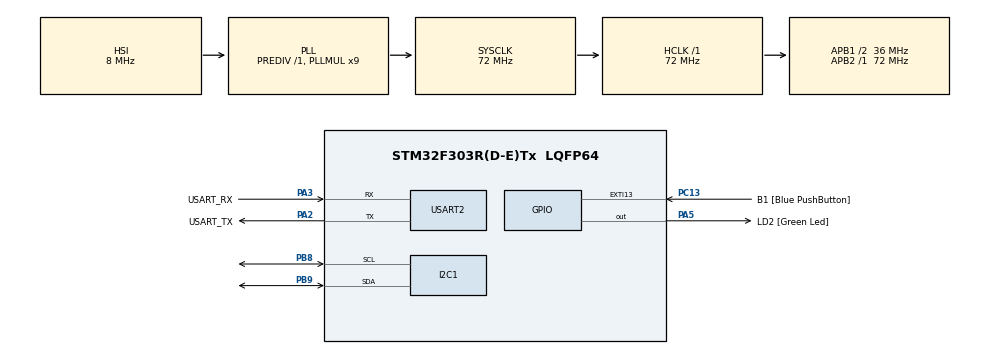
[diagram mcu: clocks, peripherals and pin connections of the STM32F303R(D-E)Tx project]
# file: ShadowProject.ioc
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Mcu.Family=STM32F3
Mcu.Name=STM32F303R(D-E)Tx
Mcu.Package=LQFP64
NVIC.PriorityGroup=NVIC_PRIORITYGROUP_0
PA13.GPIO_Label=TMS
PA13.Mode=Serial_Wire
PA13.Signal=SYS_JTMS-SWDIO
PA14.GPIO_Label=TCK
PA14.Mode=Serial_Wire
PA14.Signal=SYS_JTCK-SWCLK
PA2.GPIO_Label=USART_TX
PA2.GPIO_Mode=GPIO_MODE_AF_PP
PA2.GPIO_PuPd=GPIO_NOPULL
PA2.GPIO_Speed=GPIO_SPEED_FREQ_LOW
PA2.Mode=Asynchronous
PA2.Signal=USART2_TX
PA3.GPIO_Label=USART_RX
PA3.GPIO_Mode=GPIO_MODE_AF_PP
PA3.GPIO_PuPd=GPIO_NOPULL
PA3.GPIO_Speed=GPIO_SPEED_FREQ_LOW
PA3.Mode=Asynchronous
PA3.Signal=USART2_RX
PA5.GPIO_Label=LD2 [Green Led]
PA5.GPIO_Mode=GPIO_MODE_OUTPUT_PP
PA5.GPIO_PuPd=GPIO_NOPULL
PA5.GPIO_Speed=GPIO_SPEED_FREQ_LOW
PA5.Signal=GPIO_Output
PB3.GPIO_Label=SWO
PB3.Signal=SYS_JTDO-TRACESWO
PB8.Mode=I2C
PB8.Signal=I2C1_SCL
PB9.Mode=I2C
PB9.Signal=I2C1_SDA
PC13.GPIO_Label=B1 [Blue PushButton]
PC13.GPIO_ModeDefaultEXTI=GPIO_MODE_IT_FALLING
PC13.Signal=GPXTI13
PC14-OSC32_IN.Mode=LSE-External-Oscillator
PC14-OSC32_IN.Signal=RCC_OSC32_IN
PC15-OSC32_OUT.Mode=LSE-External-Oscillator
PC15-OSC32_OUT.Signal=RCC_OSC32_OUT
PF0-OSC_IN.Mode=HSE-External-Clock-Source
PF0-OSC_IN.Signal=RCC_OSC_IN
PF1-OSC_OUT.Signal=RCC_OSC_OUT
ProjectManager.HeapSize=0x200
ProjectManager.StackSize=0x400
ProjectManager.TargetToolchain=STM32CubeIDE
RCC.AHBFreq_Value=72000000
RCC.APB1CLKDivider=RCC_HCLK_DIV2
RCC.APB1Freq_Value=36000000
RCC.APB1TimFreq_Value=72000000
RCC.APB2Freq_Value=72000000
RCC.APB2TimFreq_Value=72000000
RCC.CortexFreq_Value=72000000
RCC.HCLKFreq_Value=72000000
RCC.HSE_VALUE=8000000
RCC.HSI_VALUE=8000000
RCC.PLLM=8
RCC.PLLMUL=RCC_PLL_MUL9
RCC.PLLN=336
RCC.PLLP=RCC_PLLP_DIV4
RCC.PLLQ=7
RCC.RCC_PLLsource_Clock_Source_FROM_HSE=RCC_HSE_PREDIV_DIV2
RCC.SYSCLKFreq_VALUE=72000000
RCC.SYSCLKSourceVirtual=RCC_SYSCLKSOURCE_PLLCLK
RCC.USBFreq_Value=72000000
USART2.VirtualMode-Asynchronous=VM_ASYNC
board=NUCLEO-F303RE

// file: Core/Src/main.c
/* USER CODE BEGIN Header */
/**
  ******************************************************************************
  * @file           : main.c
  * @brief          : Main program body
  ******************************************************************************
  * @attention
  *
  * <h2><center>&copy; Copyright (c) 2021 STMicroelectronics.
  * All rights reserved.</center></h2>
  *
  * This software component is licensed by ST under BSD 3-Clause license,
  * the "License"; You may not use this file except in compliance with the
  * License. You may obtain a copy of the License at:
  *                        opensource.org/licenses/BSD-3-Clause
  *
  ******************************************************************************
  */
/* USER CODE END Header */
#include "main.h"
#include "crc.h"
#include <stdint.h>
#include <string.h>
#include <stdlib.h>
#include <stdio.h>
#define   MAX_CONFIG_PARAM    5
#define   MAX_CONFIG_BYTES	  (MAX_CONFIG_PARAM*4)
#define   EEPROM_ADDR         0xA0

I2C_HandleTypeDef hi2c1;

UART_HandleTypeDef huart2;

void SystemClock_Config(void);
static void MX_GPIO_Init(void);
static void MX_USART2_UART_Init(void);
static void MX_I2C1_Init(void);
/* USER CODE BEGIN PFP */
uint8_t I2C_Transmit_DefaultParameters(void);
uint8_t I2C_Transmit_NewParameters(uint8_t bytearray[],uint8_t arraysize,uint8_t start_addr);
void readByte(uint8_t byteNumber,uint8_t *byteValue);
void EEPROM_ErasePage1();
/* USER CODE END PFP */

/* USER CODE BEGIN 0 */
///////DEFAULT PARAMETER VALUES//////
uint32_t default_config_parameters[MAX_CONFIG_PARAM]={40,200,150,40,150};
uint8_t default_cdefault_config_parameters_bytearray[MAX_CONFIG_BYTES];
/////DATA BUFFERS///////
uint8_t uart_config_param_data[4];
uint8_t uart_config_param_buf[100]={'*'};

///////FLAGS//////
uint8_t uart_param_flag=0;
uint8_t UART_TX_FLAG=0;
uint8_t READY_TO_WRITE=0;

//Rx Transfer completed callback.
void HAL_UART_RxCpltCallback(UART_HandleTypeDef *huart){
    //check and be ready to Rx next frame or not
    //already rx one full frame
    if(uart_param_flag==1){
    	//check for frame integrity
        if(uart_config_param_data[0]=='(' && uart_config_param_buf[uart_config_param_data[1]*4]==')'){
        	UART_TX_FLAG=1;
        	//call UART Transmit
        	HAL_UART_TxCpltCallback(&huart2);
        	UART_TX_FLAG=0;
        }
        //frame not of correct format
        else{
        	UART_TX_FLAG=2;
        	HAL_UART_TxCpltCallback(&huart2);
        	UART_TX_FLAG=0;
        }
        HAL_UART_Receive_IT(&huart2, uart_config_param_data, 4);
        uart_param_flag=0;
    }
    //Rx Remaining frame
    else{
      int no_of_param=uart_config_param_data[1];
      HAL_UART_Receive_IT(&huart2,uart_config_param_buf,(no_of_param*4)+1);
      uart_param_flag=1;
    }
}
void HAL_UART_TxCpltCallback(UART_HandleTypeDef *huart){
	//Check for flag if frame is valid
	if(UART_TX_FLAG==1){
			 HAL_UART_Transmit_IT(&huart2,(uint8_t* )"Data Received",sizeof("Data Received"));
			 READY_TO_WRITE=1;
	}
	else if(UART_TX_FLAG==2){
	HAL_UART_Transmit_IT(&huart2,(uint8_t* )"Invalid Frame",sizeof("Invalid Frame"));
	}
	//HAL_Delay(5);
}
uint8_t I2C_Transmit_DefaultParameters(void){
  //calculate CRC for float array
  //CRC functions defined in crc.c and declared in crc.h
  crcInit();
  crc config_crc=crcFast((uint8_t*)&default_config_parameters,MAX_CONFIG_BYTES);
  HAL_StatusTypeDef i2cRetVal;
  uint8_t senddatabuf[32]={0};
  uint8_t crcbuf[2]={0};
  memcpy(crcbuf, (uint8_t*)&config_crc, MAX_CONFIG_BYTES);
  memcpy(default_cdefault_config_parameters_bytearray, (uint8_t*)&default_config_parameters, MAX_CONFIG_BYTES);
  senddatabuf[0]=0xAA;
  for(int i=1;i<MAX_CONFIG_BYTES;i++){
	  senddatabuf[i]=default_cdefault_config_parameters_bytearray[i-1];
  }
  for(int i=0;i<2;i++){
 	  senddatabuf[MAX_CONFIG_BYTES+1+i]=crcbuf[i];
   }
  i2cRetVal=HAL_I2C_Mem_Write(&hi2c1, EEPROM_ADDR, (1<<5), 2, senddatabuf,32, 1000);
  HAL_Delay(5);
  if(i2cRetVal==HAL_OK){
	  return 1;
  }
  else
	  return 0;
}
uint8_t I2C_Transmit_NewParameters(uint8_t bytearray[],uint8_t arraysize,uint8_t start_address){
	HAL_StatusTypeDef i2cRetVal;
	uint8_t i2C_new_write=0;
	if(start_address>1){
		start_address=(start_address*4)-1;
	}
	  i2cRetVal=HAL_I2C_Mem_Write(&hi2c1, EEPROM_ADDR, (1<<5)|start_address|1, 2, bytearray, arraysize, 1000);
	  HAL_Delay(5);
	  if(i2cRetVal==HAL_OK){
		  i2C_new_write|=1<<0;
	  }
	  uint8_t tempbuf[MAX_CONFIG_BYTES];
	  HAL_I2C_Mem_Read(&hi2c1, 0xA0, (1<<5)|1, 2, tempbuf,MAX_CONFIG_BYTES, 1000);
	  //recalculate CRC based on new parameters written
	  crcInit();
	  crc new_config_crc=crcFast((uint8_t*)&tempbuf,MAX_CONFIG_BYTES);
	  //Write updated CRC of data to EEPROM
	  i2cRetVal=HAL_I2C_Mem_Write(&hi2c1, EEPROM_ADDR, (1<<5)|1|MAX_CONFIG_BYTES, 2, (uint8_t*)&new_config_crc,2, 1000);
	  HAL_Delay(5);
	  if(i2cRetVal==HAL_OK){
		  i2C_new_write|=1<<1;
	  }
	  //check if all the writes to EEPROM were successful
	  if(i2C_new_write==3){
	  	  return 1;
	  }
	  else
	  	  return 0;
}
void EEPROM_ErasePage1(){
	uint8_t data[32];
	memset(data,0xFF,32);
	HAL_I2C_Mem_Write(&hi2c1, EEPROM_ADDR, (1<<5),2,data,32, 1000);
	HAL_Delay(5);
}
void readByte(uint8_t byteNumber,uint8_t *byteValue){
	uint8_t pagenum=(byteNumber/32 +1);
	uint8_t bytenum=byteNumber%32;
	HAL_I2C_Mem_Read(&hi2c1, EEPROM_ADDR, (pagenum<<5)|bytenum, 2, byteValue, 1, 1000);
}
/* USER CODE END 0 */

int main(void)
{

  /* MCU Configuration--------------------------------------------------------*/

  /* Reset of all peripherals, Initializes the Flash interface and the Systick. */
  HAL_Init();
  HAL_Delay(5);

  /* Configure the system clock */
  SystemClock_Config();

  /* Initialize all configured peripherals */
  MX_GPIO_Init();
  MX_USART2_UART_Init();
  MX_I2C1_Init();

  //EEPROM_ErasePage1();
  //Read first memory location to check if default parameters already written
  uint8_t writeflag=0;
  readByte(0,&writeflag);
  if(writeflag!=0xAA){
	  //Write Default parameters
	  uint8_t I2C_Returnflag=I2C_Transmit_DefaultParameters();
	  if(I2C_Returnflag==1){
		  HAL_UART_Transmit(&huart2,(uint8_t* )"Default Write Successful",sizeof("Default Write Successful"),1000);
	  }
	  else if(I2C_Returnflag==0){
		  HAL_UART_Transmit(&huart2,(uint8_t* )"Default Write Failed",sizeof("Default Write Failed"),1000);
	  }
  }

  //Receive config param data when UART interrupt gets triggered
  HAL_UART_Receive_IT(&huart2, uart_config_param_data, 4);

  /* Infinite loop */
  /* USER CODE BEGIN WHILE */
  while (1){
	  if(READY_TO_WRITE==1){
		  uint8_t I2C_Returnflag=I2C_Transmit_NewParameters(uart_config_param_buf,uart_config_param_data[1]*4,uart_config_param_data[3]);
		  uint8_t buffert[32];
		    HAL_I2C_Mem_Read(&hi2c1, 0xA0, (1<<5), 2, buffert, 32, 1000);
		  	  if(I2C_Returnflag==1){
		  		  HAL_UART_Transmit(&huart2,(uint8_t* )"Change Successful",sizeof("Change Successful"),1000);
		  	  }
		  	  else if(I2C_Returnflag==0){
		  		  HAL_UART_Transmit(&huart2,(uint8_t* )"Change Failed",sizeof("Change Failed"),1000);
		  	  }
		  READY_TO_WRITE=0;
	  }
  }
    /* USER CODE END WHILE */
}

void SystemClock_Config(void)
{
  RCC_OscInitTypeDef RCC_OscInitStruct = {0};
  RCC_ClkInitTypeDef RCC_ClkInitStruct = {0};
  RCC_PeriphCLKInitTypeDef PeriphClkInit = {0};

  /** Initializes the RCC Oscillators according to the specified parameters
  * in the RCC_OscInitTypeDef structure.
  */
  RCC_OscInitStruct.OscillatorType = RCC_OSCILLATORTYPE_HSI;
  RCC_OscInitStruct.HSIState = RCC_HSI_ON;
  RCC_OscInitStruct.HSICalibrationValue = RCC_HSICALIBRATION_DEFAULT;
  RCC_OscInitStruct.PLL.PLLState = RCC_PLL_ON;
  RCC_OscInitStruct.PLL.PLLSource = RCC_PLLSOURCE_HSI;
  RCC_OscInitStruct.PLL.PLLMUL = RCC_PLL_MUL9;
  RCC_OscInitStruct.PLL.PREDIV = RCC_PREDIV_DIV1;
  if (HAL_RCC_OscConfig(&RCC_OscInitStruct) != HAL_OK)
  {
    Error_Handler();
  }
  /** Initializes the CPU, AHB and APB buses clocks
  */
  RCC_ClkInitStruct.ClockType = RCC_CLOCKTYPE_HCLK|RCC_CLOCKTYPE_SYSCLK
                              |RCC_CLOCKTYPE_PCLK1|RCC_CLOCKTYPE_PCLK2;
  RCC_ClkInitStruct.SYSCLKSource = RCC_SYSCLKSOURCE_PLLCLK;
  RCC_ClkInitStruct.AHBCLKDivider = RCC_SYSCLK_DIV1;
  RCC_ClkInitStruct.APB1CLKDivider = RCC_HCLK_DIV2;
  RCC_ClkInitStruct.APB2CLKDivider = RCC_HCLK_DIV1;

  if (HAL_RCC_ClockConfig(&RCC_ClkInitStruct, FLASH_LATENCY_2) != HAL_OK)
  {
    Error_Handler();
  }
  PeriphClkInit.PeriphClockSelection = RCC_PERIPHCLK_USART2|RCC_PERIPHCLK_I2C1;
  PeriphClkInit.Usart2ClockSelection = RCC_USART2CLKSOURCE_PCLK1;
  PeriphClkInit.I2c1ClockSelection = RCC_I2C1CLKSOURCE_HSI;
  if (HAL_RCCEx_PeriphCLKConfig(&PeriphClkInit) != HAL_OK)
  {
    Error_Handler();
  }
}

static void MX_I2C1_Init(void)
{

  hi2c1.Instance = I2C1;
  hi2c1.Init.Timing = 0x2000090E;
  hi2c1.Init.OwnAddress1 = 0;
  hi2c1.Init.AddressingMode = I2C_ADDRESSINGMODE_7BIT;
  hi2c1.Init.DualAddressMode = I2C_DUALADDRESS_DISABLE;
  hi2c1.Init.OwnAddress2 = 0;
  hi2c1.Init.OwnAddress2Masks = I2C_OA2_NOMASK;
  hi2c1.Init.GeneralCallMode = I2C_GENERALCALL_DISABLE;
  hi2c1.Init.NoStretchMode = I2C_NOSTRETCH_DISABLE;
  if (HAL_I2C_Init(&hi2c1) != HAL_OK)
  {
    Error_Handler();
  }
  /** Configure Analogue filter
  */
  if (HAL_I2CEx_ConfigAnalogFilter(&hi2c1, I2C_ANALOGFILTER_ENABLE) != HAL_OK)
  {
    Error_Handler();
  }
  /** Configure Digital filter
  */
  if (HAL_I2CEx_ConfigDigitalFilter(&hi2c1, 0) != HAL_OK)
  {
    Error_Handler();
  }

}

static void MX_USART2_UART_Init(void)
{

  huart2.Instance = USART2;
  huart2.Init.BaudRate = 38400;
  huart2.Init.WordLength = UART_WORDLENGTH_8B;
  huart2.Init.StopBits = UART_STOPBITS_1;
  huart2.Init.Parity = UART_PARITY_NONE;
  huart2.Init.Mode = UART_MODE_TX_RX;
  huart2.Init.HwFlowCtl = UART_HWCONTROL_NONE;
  huart2.Init.OverSampling = UART_OVERSAMPLING_16;
  huart2.Init.OneBitSampling = UART_ONE_BIT_SAMPLE_DISABLE;
  huart2.AdvancedInit.AdvFeatureInit = UART_ADVFEATURE_NO_INIT;
  if (HAL_UART_Init(&huart2) != HAL_OK)
  {
    Error_Handler();
  }

}

static void MX_GPIO_Init(void)
{
  GPIO_InitTypeDef GPIO_InitStruct = {0};

  /* GPIO Ports Clock Enable */
  __HAL_RCC_GPIOC_CLK_ENABLE();
  __HAL_RCC_GPIOF_CLK_ENABLE();
  __HAL_RCC_GPIOA_CLK_ENABLE();
  __HAL_RCC_GPIOB_CLK_ENABLE();

  /*Configure GPIO pin Output Level */
  HAL_GPIO_WritePin(LD2_GPIO_Port, LD2_Pin, GPIO_PIN_RESET);

  /*Configure GPIO pin : B1_Pin */
  GPIO_InitStruct.Pin = B1_Pin;
  GPIO_InitStruct.Mode = GPIO_MODE_IT_FALLING;
  GPIO_InitStruct.Pull = GPIO_NOPULL;
  HAL_GPIO_Init(B1_GPIO_Port, &GPIO_InitStruct);

  /*Configure GPIO pin : LD2_Pin */
  GPIO_InitStruct.Pin = LD2_Pin;
  GPIO_InitStruct.Mode = GPIO_MODE_OUTPUT_PP;
  GPIO_InitStruct.Pull = GPIO_NOPULL;
  GPIO_InitStruct.Speed = GPIO_SPEED_FREQ_LOW;
  HAL_GPIO_Init(LD2_GPIO_Port, &GPIO_InitStruct);

}

void Error_Handler(void)
{
  __disable_irq();
  while (1)
  {
  }
}

/************************ (C) COPYRIGHT STMicroelectronics *****END OF FILE****/
